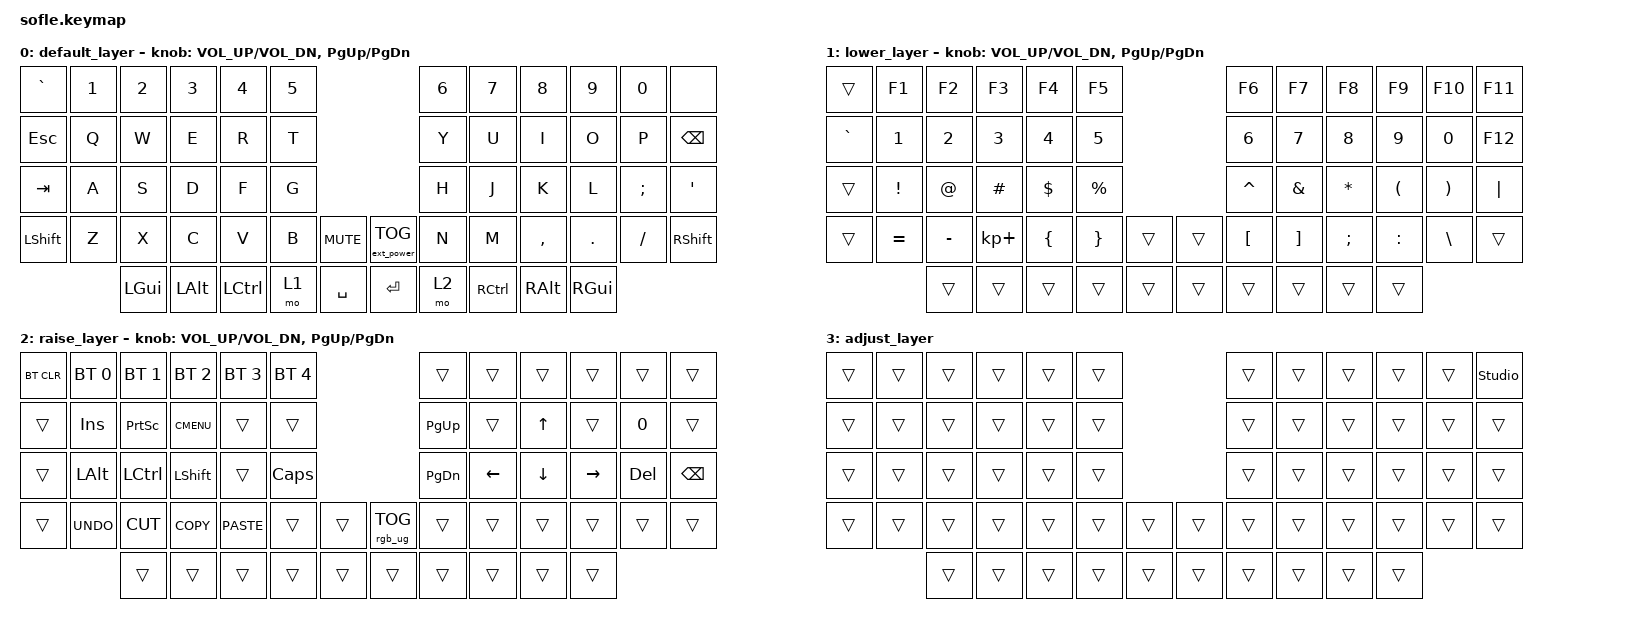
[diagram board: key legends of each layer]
/*
 * Copyright (c) 2020 The ZMK Contributors
 *
 * SPDX-License-Identifier: MIT
 */
/*
 * Temporarily here because nice nano v2 spi is not defined on ZMK Yet
 * Source: https://github.com/zmkfirmware/zmk/blob/main/app/boards/shields/reviung41/boards/nice_nano.overlay
 * GitHub Issue: https://github.com/zmkfirmware/zmk/issues/885
 */

#include <dt-bindings/led/led.h>
#include <behaviors.dtsi>
#include <dt-bindings/zmk/bt.h>
#include <dt-bindings/zmk/ext_power.h>
#include <dt-bindings/zmk/keys.h>
#include <dt-bindings/zmk/rgb.h>

&pinctrl {
    spi3_default: spi3_default {
        group1 { psels = <NRF_PSEL(SPIM_MOSI, 0, 8)>; };
    };

    spi3_sleep: spi3_sleep {
        group1 {
            psels = <NRF_PSEL(SPIM_MOSI, 0, 8)>;
            low-power-enable;
        };
    };
};

&spi3 {
    compatible = "nordic,nrf-spim";
    status = "okay";
    pinctrl-0 = <&spi3_default>;
    pinctrl-1 = <&spi3_sleep>;
    pinctrl-names = "default", "sleep";

    led_strip: ws2812@0 {
        compatible = "worldsemi,ws2812-spi";
        label = "WS2812";

        /* SPI */

        reg = <0>; /* ignored, but necessary for SPI bindings */
        spi-max-frequency = <4000000>;

        /* WS2812 */

        chain-length = <30>;
        spi-one-frame = <0x70>;
        spi-zero-frame = <0x40>;
        color-mapping = <LED_COLOR_ID_GREEN LED_COLOR_ID_RED LED_COLOR_ID_BLUE>;
    };
};

/ {
    chosen { zmk,underglow = &led_strip; };
};

/* END temporary RGB support section */

/ {
    combos {
        compatible = "zmk,combos";

        left_parenthese {
            bindings = <&kp N5>;
            key-positions = <16 17>;
        };

        right_parenthese {
            bindings = <&kp MINUS>;
            key-positions = <18 19>;
        };

        left_bracket {
            bindings = <&kp RA(N5)>;
            key-positions = <28 29>;
        };

        right_bracket {
            bindings = <&kp RA(MINUS)>;
            key-positions = <30 31>;
        };

        left_cb {
            bindings = <&kp RA(N4)>;
            key-positions = <40 41>;
        };

        right_cb {
            bindings = <&kp RA(EQUAL)>;
            key-positions = <44 45>;
        };

        inferior {
            bindings = <&kp NON_US_BSLH>;
            key-positions = <39 40>;
        };

        superior {
            bindings = <&kp LS(NON_US_BSLH)>;
            key-positions = <45 46>;
        };
    };

    keymap {
        compatible = "zmk,keymap";

        default_layer {
            // ------------------------------------------------------------------------------------------------------------------
            // |  `    |  1  |  2  |  3   |  4   |  5   |                         |  6   |  7    |  8    |  9   |   0   |       |
            // |  ESC  |  Q  |  W  |  E   |  R   |  T   |                         |  Y   |  U    |  I    |  O   |   P   | BKSPC |
            // |  TAB  |  A  |  S  |  D   |  F   |  G   |                         |  H   |  J    |  K    |  L   |   ;   |   '   |
            // | SHIFT |  Z  |  X  |  C   |  V   |  B   |  MUTE  |        | ExtPw |  N   |  M    |  ,    |  .   |   /   | SHIFT |
            //               | GUI | ALT  | CTRL | LOWER|  ENTER |        | SPACE | RAISE| CTRL  | ALT   | GUI  |

            bindings = <
&kp GRAVE  &kp N1  &kp N2    &kp N3    &kp N4     &kp N5                                   &kp N6  &kp N7     &kp N8     &kp N9    &kp N0    &none
&kp ESC    &kp Q   &kp W     &kp E     &kp R      &kp T                                    &kp Y   &kp U      &kp I      &kp O     &kp P     &kp BSPC
&kp TAB    &kp A   &kp S     &kp D     &kp F      &kp G                                    &kp H   &kp J      &kp K      &kp L     &kp SEMI  &kp SQT
&kp LSHFT  &kp Z   &kp X     &kp C     &kp V      &kp B   &kp C_MUTE    &ext_power EP_TOG  &kp N   &kp M      &kp COMMA  &kp DOT   &kp FSLH  &kp RSHFT
                   &kp LGUI  &kp LALT  &kp LCTRL  &mo 1   &kp SPACE     &kp RETURN         &mo 2   &kp RCTRL  &kp RALT   &kp RGUI
            >;

            sensor-bindings = <&inc_dec_kp C_VOL_UP C_VOL_DN &inc_dec_kp PG_UP PG_DN>;
        };

        lower_layer {
            // TODO: Some binds are waiting for shifted keycode support.
            // ------------------------------------------------------------------------------------------------------------
            // |       |  F1 |  F2 |  F3  |  F4  |  F5  |                   |  F6  |  F7   |  F8   |  F9  |  F10  |  F11  |
            // | `     |   1 |   2 |   3  |   4  |   5  |                   |   6  |   7   |   8   |   9  |    0  |  F12  |
            // |       |  !  |  @  |  #   |  $   |  %   |                   |  ^   |  &    |  *    |  (   |   )   |   |   |
            // |       |  =  |  -  |  +   |  {   |  }   |        |  |       |  [   |  ]    |  ;    |  :   |   \   |       |
            //               |     |      |      |      |        |  |       |      |       |       |      |

            bindings = <
&trans     &kp F1     &kp F2     &kp F3       &kp F4    &kp F5                       &kp F6     &kp F7    &kp F8        &kp F9     &kp F10   &kp F11
&kp GRAVE  &kp N1     &kp N2     &kp N3       &kp N4    &kp N5                       &kp N6     &kp N7    &kp N8        &kp N9     &kp N0    &kp F12
&trans     &kp EXCL   &kp AT     &kp HASH     &kp DLLR  &kp PRCNT                    &kp CARET  &kp AMPS  &kp ASTERISK  &kp LPAR   &kp RPAR  &kp PIPE
&trans     &kp EQUAL  &kp MINUS  &kp KP_PLUS  &kp LBRC  &kp RBRC   &trans    &trans  &kp LBKT   &kp RBKT  &kp SEMI      &kp COLON  &kp BSLH  &trans
                      &trans     &trans       &trans    &trans     &trans    &trans  &trans     &trans    &trans        &trans
            >;

            sensor-bindings = <&inc_dec_kp C_VOL_UP C_VOL_DN &inc_dec_kp PG_UP PG_DN>;
        };

        raise_layer {
            // ------------------------------------------------------------------------------------------------------------
            // |BTCLR| BT1  | BT2  |  BT3  |  BT4  |  BT5 |                 |      |      |       |      |       |       |
            // |     | INS  | PSCR | GUI   |       |      |                 | PGUP |      |   ^   |      |       |       |
            // |     | ALT  | CTRL | SHIFT |       | CAPS |                 | PGDN |   <- |   v   |  ->  |  DEL  | BKSPC |
            // |     | UNDO | CUT  | COPY  | PASTE |      |      |   | RGB  |      |      |       |      |       |       |
            //              |      |       |       |      |      |   |      |      |      |       |      |

            bindings = <
&bt BT_CLR  &bt BT_SEL 0  &bt BT_SEL 1  &bt BT_SEL 2  &bt BT_SEL 3  &bt BT_SEL 4                             &trans     &trans    &trans    &trans     &trans   &trans
&trans      &kp INS       &kp PSCRN     &kp K_CMENU   &trans        &trans                                   &kp PG_UP  &trans    &kp UP    &trans     &kp N0   &trans
&trans      &kp LALT      &kp LCTRL     &kp LSHFT     &trans        &kp CLCK                                 &kp PG_DN  &kp LEFT  &kp DOWN  &kp RIGHT  &kp DEL  &kp BSPC
&trans      &kp K_UNDO    &kp K_CUT     &kp K_COPY    &kp K_PASTE   &trans        &trans    &rgb_ug RGB_TOG  &trans     &trans    &trans    &trans     &trans   &trans
                          &trans        &trans        &trans        &trans        &trans    &trans           &trans     &trans    &trans    &trans
            >;

            sensor-bindings = <&inc_dec_kp C_VOL_UP C_VOL_DN &inc_dec_kp PG_UP PG_DN>;
        };

        adjust_layer {
            bindings = <
&trans  &trans  &trans  &trans  &trans  &trans                    &trans  &trans  &trans  &trans  &trans  &studio_unlock
&trans  &trans  &trans  &trans  &trans  &trans                    &trans  &trans  &trans  &trans  &trans  &trans
&trans  &trans  &trans  &trans  &trans  &trans                    &trans  &trans  &trans  &trans  &trans  &trans
&trans  &trans  &trans  &trans  &trans  &trans  &trans    &trans  &trans  &trans  &trans  &trans  &trans  &trans
                &trans  &trans  &trans  &trans  &trans    &trans  &trans  &trans  &trans  &trans
            >;
        };
    };

    conditional_layers {
        compatible = "zmk,conditional-layers";

        adjust_layer {
            if-layers = <1 2>;
            then-layer = <3>;
        };
    };
};
